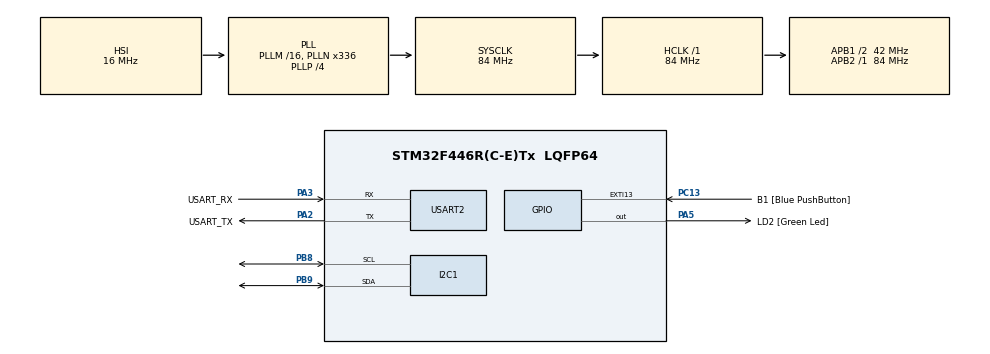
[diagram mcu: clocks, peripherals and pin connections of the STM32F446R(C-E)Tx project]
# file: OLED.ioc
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I2C1.I2C_Mode=I2C_Standard
Mcu.Family=STM32F4
Mcu.Name=STM32F446R(C-E)Tx
Mcu.Package=LQFP64
NVIC.PriorityGroup=NVIC_PRIORITYGROUP_0
PA13.GPIO_Label=TMS
PA13.Mode=Serial_Wire
PA13.Signal=SYS_JTMS-SWDIO
PA14.GPIO_Label=TCK
PA14.Mode=Serial_Wire
PA14.Signal=SYS_JTCK-SWCLK
PA2.GPIO_Label=USART_TX
PA2.Mode=Asynchronous
PA2.Signal=USART2_TX
PA3.GPIO_Label=USART_RX
PA3.Mode=Asynchronous
PA3.Signal=USART2_RX
PA5.GPIO_Label=LD2 [Green Led]
PA5.Signal=GPIO_Output
PB3.GPIO_Label=SWO
PB3.Signal=SYS_JTDO-SWO
PB8.Mode=I2C
PB8.Signal=I2C1_SCL
PB9.Mode=I2C
PB9.Signal=I2C1_SDA
PC13.GPIO_Label=B1 [Blue PushButton]
PC13.GPIO_ModeDefaultEXTI=GPIO_MODE_IT_FALLING
PC13.Signal=GPXTI13
PC14-OSC32_IN.Mode=LSE-External-Oscillator
PC14-OSC32_IN.Signal=RCC_OSC32_IN
PC15-OSC32_OUT.Mode=LSE-External-Oscillator
PC15-OSC32_OUT.Signal=RCC_OSC32_OUT
PH0-OSC_IN.Mode=HSE-External-Oscillator
PH0-OSC_IN.Signal=RCC_OSC_IN
PH1-OSC_OUT.Mode=HSE-External-Oscillator
PH1-OSC_OUT.Signal=RCC_OSC_OUT
ProjectManager.HeapSize=0x200
ProjectManager.StackSize=0x400
ProjectManager.TargetToolchain=STM32CubeIDE
RCC.48MHZClocksFreq_Value=84000000
RCC.AHBFreq_Value=84000000
RCC.APB1CLKDivider=RCC_HCLK_DIV2
RCC.APB1Freq_Value=42000000
RCC.APB1TimFreq_Value=84000000
RCC.APB2Freq_Value=84000000
RCC.APB2TimFreq_Value=84000000
RCC.CortexFreq_Value=84000000
RCC.FLatency-AdvancedSettings=FLASH_LATENCY_2
RCC.HCLKFreq_Value=84000000
RCC.HSE_VALUE=8000000
RCC.HSI_VALUE=16000000
RCC.PLLN=336
RCC.PLLP=RCC_PLLP_DIV4
RCC.SYSCLKFreq_VALUE=84000000
RCC.SYSCLKSource=RCC_SYSCLKSOURCE_PLLCLK
RCC.USBFreq_Value=168000000
RCC.VCOOutputFreq_Value=336000000
USART2.VirtualMode=VM_ASYNC
board=NUCLEO-F446RE

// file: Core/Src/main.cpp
/* USER CODE BEGIN Header */
/**
  ******************************************************************************
  * @file           : main.c
  * @brief          : Main program body
  ******************************************************************************
  * @attention
  *
  * Copyright (c) 2025 STMicroelectronics.
  * All rights reserved.
  *
  * This software is licensed under terms that can be found in the LICENSE file
  * in the root directory of this software component.
  * If no LICENSE file comes with this software, it is provided AS-IS.
  *
  ******************************************************************************
  */
/* USER CODE END Header */
#include <GUI_demo.hpp>
#include "main.h"

/* USER CODE BEGIN Includes */
#include "SSD1305.hpp"
/* USER CODE END Includes */

I2C_HandleTypeDef hi2c1;

UART_HandleTypeDef huart2;

void SystemClock_Config(void);
static void MX_GPIO_Init(void);
static void MX_USART2_UART_Init(void);
static void MX_I2C1_Init(void);

/* USER CODE BEGIN 0 */
void available_devices(int* devices)
{
	HAL_StatusTypeDef status;

	int j = 0;
	for(int i = 0; i<128; i++)
	{
		HAL_Delay(100);
		status = HAL_I2C_IsDeviceReady(&hi2c1, i<<1, 2, 100);
		if(status == HAL_OK)
			{
				devices[j] = i;
				j++;
			}
	}
}
/* USER CODE END 0 */

int main(void)
{

  /* MCU Configuration--------------------------------------------------------*/

  /* Reset of all peripherals, Initializes the Flash interface and the Systick. */
  HAL_Init();

  /* Configure the3, system clock */
  SystemClock_Config();

  /* Initialize all configured peripherals */
  MX_GPIO_Init();
  MX_USART2_UART_Init();
  MX_I2C1_Init();
  /* USER CODE BEGIN 2 */
  SSD1305 display(&hi2c1, 0x3C, 128, 32);
  display.Init();

  DrawGUI(&display, 0.0237, 0.0151, -0.984, false, false, false);
  DrawGUI(&display, 0.0237, 0.0151, -0.984, true, false, false);
  DrawGUI(&display, 0.0167, 0.0169, -0.961, false, true, false);
  DrawGUI(&display, 0.0217, 0.0142, -0.976, false, false, true);

  /* USER CODE END 2 */

  /* Infinite loop */
  while (1)
  {

  }
}

void SystemClock_Config(void)
{
  RCC_OscInitTypeDef RCC_OscInitStruct = {0};
  RCC_ClkInitTypeDef RCC_ClkInitStruct = {0};

  /** Configure the main internal regulator output voltage
  */
  __HAL_RCC_PWR_CLK_ENABLE();
  __HAL_PWR_VOLTAGESCALING_CONFIG(PWR_REGULATOR_VOLTAGE_SCALE3);

  /** Initializes the RCC Oscillators according to the specified parameters
  * in the RCC_OscInitTypeDef structure.
  */
  RCC_OscInitStruct.OscillatorType = RCC_OSCILLATORTYPE_HSI;
  RCC_OscInitStruct.HSIState = RCC_HSI_ON;
  RCC_OscInitStruct.HSICalibrationValue = RCC_HSICALIBRATION_DEFAULT;
  RCC_OscInitStruct.PLL.PLLState = RCC_PLL_ON;
  RCC_OscInitStruct.PLL.PLLSource = RCC_PLLSOURCE_HSI;
  RCC_OscInitStruct.PLL.PLLM = 16;
  RCC_OscInitStruct.PLL.PLLN = 336;
  RCC_OscInitStruct.PLL.PLLP = RCC_PLLP_DIV4;
  RCC_OscInitStruct.PLL.PLLQ = 2;
  RCC_OscInitStruct.PLL.PLLR = 2;
  if (HAL_RCC_OscConfig(&RCC_OscInitStruct) != HAL_OK)
  {
    Error_Handler();
  }

  /** Initializes the CPU, AHB and APB buses clocks
  */
  RCC_ClkInitStruct.ClockType = RCC_CLOCKTYPE_HCLK|RCC_CLOCKTYPE_SYSCLK
                              |RCC_CLOCKTYPE_PCLK1|RCC_CLOCKTYPE_PCLK2;
  RCC_ClkInitStruct.SYSCLKSource = RCC_SYSCLKSOURCE_PLLCLK;
  RCC_ClkInitStruct.AHBCLKDivider = RCC_SYSCLK_DIV1;
  RCC_ClkInitStruct.APB1CLKDivider = RCC_HCLK_DIV2;
  RCC_ClkInitStruct.APB2CLKDivider = RCC_HCLK_DIV1;

  if (HAL_RCC_ClockConfig(&RCC_ClkInitStruct, FLASH_LATENCY_2) != HAL_OK)
  {
    Error_Handler();
  }
}

static void MX_I2C1_Init(void)
{

  hi2c1.Instance = I2C1;
  hi2c1.Init.ClockSpeed = 100000;
  hi2c1.Init.DutyCycle = I2C_DUTYCYCLE_2;
  hi2c1.Init.OwnAddress1 = 0;
  hi2c1.Init.AddressingMode = I2C_ADDRESSINGMODE_7BIT;
  hi2c1.Init.DualAddressMode = I2C_DUALADDRESS_DISABLE;
  hi2c1.Init.OwnAddress2 = 0;
  hi2c1.Init.GeneralCallMode = I2C_GENERALCALL_DISABLE;
  hi2c1.Init.NoStretchMode = I2C_NOSTRETCH_DISABLE;
  if (HAL_I2C_Init(&hi2c1) != HAL_OK)
  {
    Error_Handler();
  }

}

static void MX_USART2_UART_Init(void)
{

  huart2.Instance = USART2;
  huart2.Init.BaudRate = 115200;
  huart2.Init.WordLength = UART_WORDLENGTH_8B;
  huart2.Init.StopBits = UART_STOPBITS_1;
  huart2.Init.Parity = UART_PARITY_NONE;
  huart2.Init.Mode = UART_MODE_TX_RX;
  huart2.Init.HwFlowCtl = UART_HWCONTROL_NONE;
  huart2.Init.OverSampling = UART_OVERSAMPLING_16;
  if (HAL_UART_Init(&huart2) != HAL_OK)
  {
    Error_Handler();
  }

}

static void MX_GPIO_Init(void)
{
  GPIO_InitTypeDef GPIO_InitStruct = {0};

  /* GPIO Ports Clock Enable */
  __HAL_RCC_GPIOC_CLK_ENABLE();
  __HAL_RCC_GPIOH_CLK_ENABLE();
  __HAL_RCC_GPIOA_CLK_ENABLE();
  __HAL_RCC_GPIOB_CLK_ENABLE();

  /*Configure GPIO pin Output Level */
  HAL_GPIO_WritePin(LD2_GPIO_Port, LD2_Pin, GPIO_PIN_RESET);

  /*Configure GPIO pin : B1_Pin */
  GPIO_InitStruct.Pin = B1_Pin;
  GPIO_InitStruct.Mode = GPIO_MODE_IT_FALLING;
  GPIO_InitStruct.Pull = GPIO_NOPULL;
  HAL_GPIO_Init(B1_GPIO_Port, &GPIO_InitStruct);

  /*Configure GPIO pin : LD2_Pin */
  GPIO_InitStruct.Pin = LD2_Pin;
  GPIO_InitStruct.Mode = GPIO_MODE_OUTPUT_PP;
  GPIO_InitStruct.Pull = GPIO_NOPULL;
  GPIO_InitStruct.Speed = GPIO_SPEED_FREQ_LOW;
  HAL_GPIO_Init(LD2_GPIO_Port, &GPIO_InitStruct);

}

void Error_Handler(void)
{
  __disable_irq();
  while (1)
  {
  }
}
